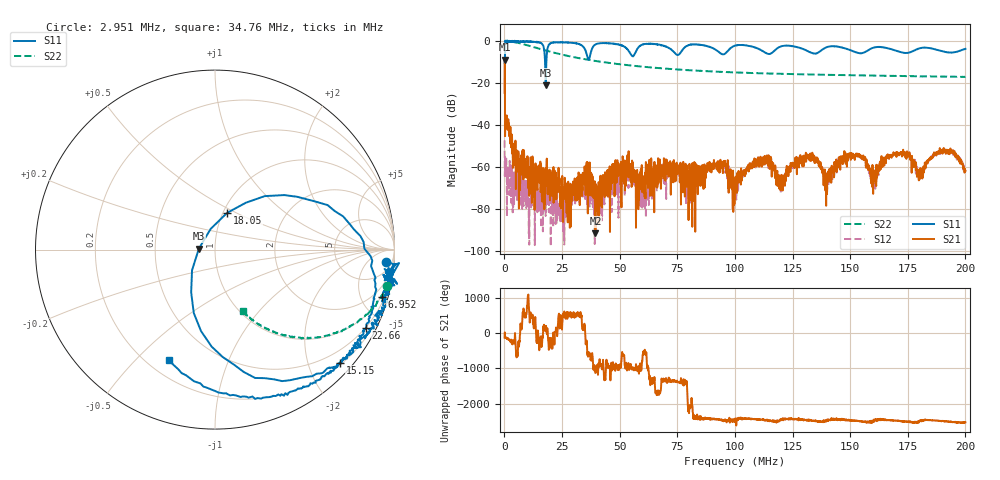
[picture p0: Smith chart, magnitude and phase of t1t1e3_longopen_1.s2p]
! 27-Aug-26 2:22:44 PM
! E:\20260827_VNA\T1T1E3_LONGOPEN_1.S2P
! CHANNEL.1
! TR.MEASUREMENT
! CORRECTED.DATA
# GHZ S RI R 50.0
! FREQ.GHZ  S11RE  S11IM  S21RE  S21IM  S12RE  S12IM  S22RE  S22IM
!; PortSelection: Port_12
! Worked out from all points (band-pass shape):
!   2000 points, 50 kHz to 200 MHz, reference 50 ohm
!   highest |S21| = -8.83 dB at 150 kHz (marker M1); lowest = -91.6 dB at 39.46 MHz (marker M2)
!   |S21| within 3 dB of the highest: 131 kHz to 158.3 kHz (27.3 kHz wide, 18.9 % of centre)
!   lowest |S11| = -20.9 dB at 17.85 MHz (marker M3), VSWR 1.20, Z = 41.8 + j0.455 ohm
!   |S11| at or under -10 dB: 94.45 kHz to 165.2 kHz (70.72 kHz wide, 54.5 % of centre); 17.61 MHz to 18.16 MHz (552.4 kHz wide, 3.09 % of centre)
!   |S22| runs from -17.0 to 0.1 dB; largest |S21 - S12| = 0.36
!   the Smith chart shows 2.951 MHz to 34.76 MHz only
!   S11 on the Smith chart (normalised r, x): 2.951 MHz: 12, -20; 6.952 MHz: 0.90, -7.02; 15.15 MHz: 0.23, -2.58; 18.05 MHz: 1.05, +0.45; 22.66 MHz: 0.46, -4.05; 34.76 MHz: 0.28, -0.63
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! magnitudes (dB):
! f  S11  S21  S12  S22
! 50 kHz  -9.1  -24.6  -47.3  -0.3
! 150 kHz  -11.1  -8.8  -64.3  0.0
! 2.951 MHz  -0.4  -44.3  -64.8  -0.2
! 6.952 MHz  -0.3  -56.6  -66.1  -1.0
! 15.15 MHz  -0.5  -58.9  -73.4  -3.5
! 17.85 MHz  -20.9  -60.8  -83.3  -4.4
! 18.05 MHz  -13.4  -67.3  -77.8  -4.4
! 22.66 MHz  -0.5  -69.0  -86.9  -5.7
! 33.46 MHz  -1.9  -66.4  -69.1  -8.3
! 34.76 MHz  -3.5  -59.7  -71.5  -8.5
! 39.46 MHz  -1.5  -91.6  -84.6  -9.4
! 48.96 MHz  -1.4  -56.7  -68.1  -10.8
! 59.46 MHz  -1.7  -63.1  -76.7  -12.1
! 66.77 MHz  -1.5  -67.5  -62.7  -12.8
! 94.67 MHz  -6.2  -57.4  -60.6  -14.6
! 100.1 MHz  -2.0  -65.7  -73.0  -14.8
! 110.6 MHz  -3.8  -57.3  -57.2  -15.2
! 119.9 MHz  -2.4  -66.1  -72.5  -15.5
! 133.4 MHz  -5.6  -56.3  -54.4  -15.8
! 139.4 MHz  -3.0  -62.8  -66.1  -16.0
! 166.7 MHz  -3.4  -54.3  -55.8  -16.5
! 200 MHz  -3.6  -61.8  -61.1  -17.0
